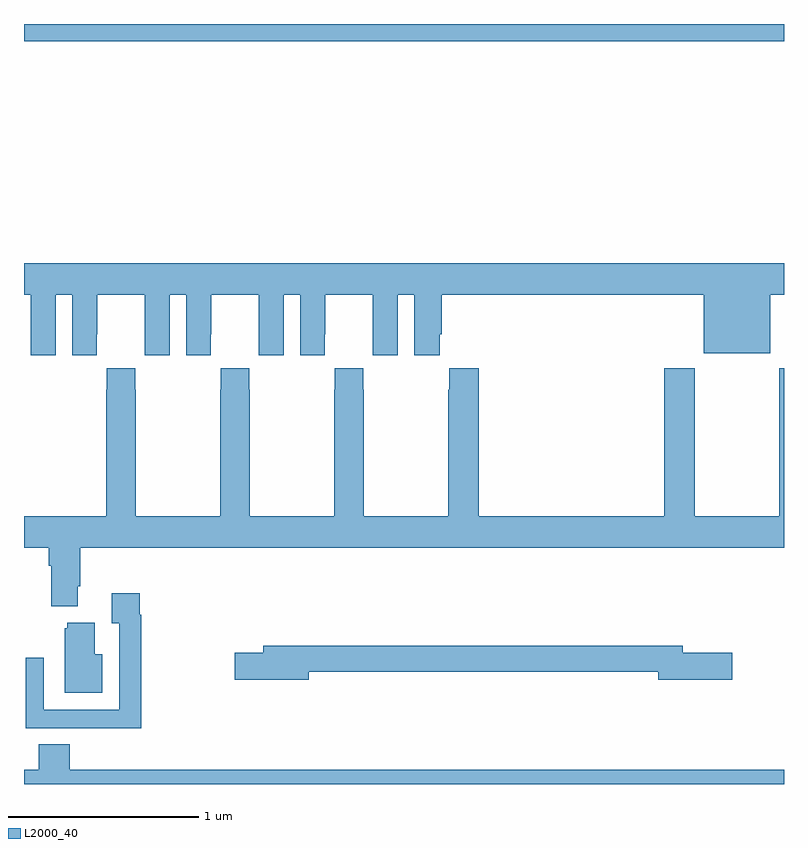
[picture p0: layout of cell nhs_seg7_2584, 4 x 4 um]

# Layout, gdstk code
import gdstk
lib = gdstk.Library(unit=1e-6, precision=1e-09)
def R(c, l, rs):  # rectangles x0, y0, x1, y1
    for r in rs: c.add(gdstk.rectangle(r[:2], r[2:], *l))
def P(c, l, *ps):  # polygons
    for p in ps: c.add(gdstk.Polygon(p, *l))
L2000_40 = (2000, 40)

nhs_seg7_2584 = lib.new_cell('nhs_seg7_2584')
R(nhs_seg7_2584, L2000_40, [(279,1041.908,283,1042)])
P(nhs_seg7_2584, L2000_40, [(279.166,1040.576),(279.254,1040.576),(279.254,1040.256),(279.384,1040.256),(279.384,1040.368),(279.385,1040.368),(279.385,1040.576),(279.635,1040.576),(279.635,1040.368),(279.636,1040.368),(279.636,1040.256),(279.766,1040.256),(279.766,1040.576),(279.854,1040.576),(279.854,1040.256),(279.984,1040.256),(279.984,1040.368),(279.985,1040.368),(279.985,1040.576),(280.235,1040.576),(280.235,1040.368),(280.236,1040.368),(280.236,1040.256),(280.366,1040.256),(280.366,1040.576),(280.454,1040.576),(280.454,1040.256),(280.584,1040.256),(280.584,1040.368),(280.585,1040.368),(280.585,1040.576),(280.835,1040.576),(280.835,1040.368),(280.836,1040.368),(280.836,1040.256),(280.966,1040.256),(280.966,1040.576),(281.054,1040.576),(281.054,1040.256),(281.188,1040.256),(281.188,1040.368),(281.198,1040.368),(281.198,1040.576),(282.578,1040.576),(282.578,1040.267),(282.928,1040.267),(282.928,1040.576),(283,1040.576),(283,1040.74),(279,1040.74),(279,1040.576),(279.035,1040.576),(279.035,1040.368),(279.036,1040.368),(279.036,1040.256),(279.166,1040.256)],
  [(283,1040.188),(282.976,1040.188),(282.976,1039.408),(282.531,1039.408),(282.531,1040.188),(282.371,1040.188),(282.371,1039.408),(281.393,1039.408),(281.393,1040.188),(281.239,1040.188),(281.239,1040.075),(281.233,1040.075),(281.233,1039.408),(280.788,1039.408),(280.788,1040.075),(280.785,1040.075),(280.785,1040.188),(280.635,1040.188),(280.635,1040.075),(280.633,1040.075),(280.633,1039.408),(280.188,1039.408),(280.188,1040.075),(280.185,1040.075),(280.185,1040.188),(280.035,1040.188),(280.035,1040.075),(280.033,1040.075),(280.033,1039.408),(279.588,1039.408),(279.588,1040.075),(279.585,1040.075),(279.585,1040.188),(279.435,1040.188),(279.435,1040.075),(279.433,1040.075),(279.433,1039.408),(279,1039.408),(279,1039.244),(279.131,1039.244),(279.131,1039.148),(279.143,1039.148),(279.143,1038.935),(279.283,1038.935),(279.283,1039.042),(279.296,1039.042),(279.296,1039.244),(283,1039.244)],
  [(279.617,1038.89),(279.61,1038.89),(279.61,1039.003),(279.461,1039.003),(279.461,1038.847),(279.501,1038.847),(279.501,1038.39),(279.105,1038.39),(279.105,1038.664),(279.009,1038.664),(279.009,1038.294),(279.325,1038.294),(279.325,1038.293),(279.617,1038.293)],
  [(279.412,1038.682),(279.373,1038.682),(279.373,1038.85),(279.227,1038.85),(279.227,1038.819),(279.215,1038.819),(279.215,1038.479),(279.412,1038.479)],
  [(280.498,1038.592),(282.338,1038.592),(282.338,1038.55),(282.727,1038.55),(282.727,1038.692),(282.466,1038.692),(282.466,1038.728),(280.259,1038.728),(280.259,1038.692),(280.11,1038.692),(280.11,1038.55),(280.498,1038.55)],
  [(283,1038.076),(279.242,1038.076),(279.242,1038.209),(279.077,1038.209),(279.077,1038.076),(279,1038.076),(279,1038),(283,1038)])

lib.write_gds('nhs_seg7_2584.gds')
